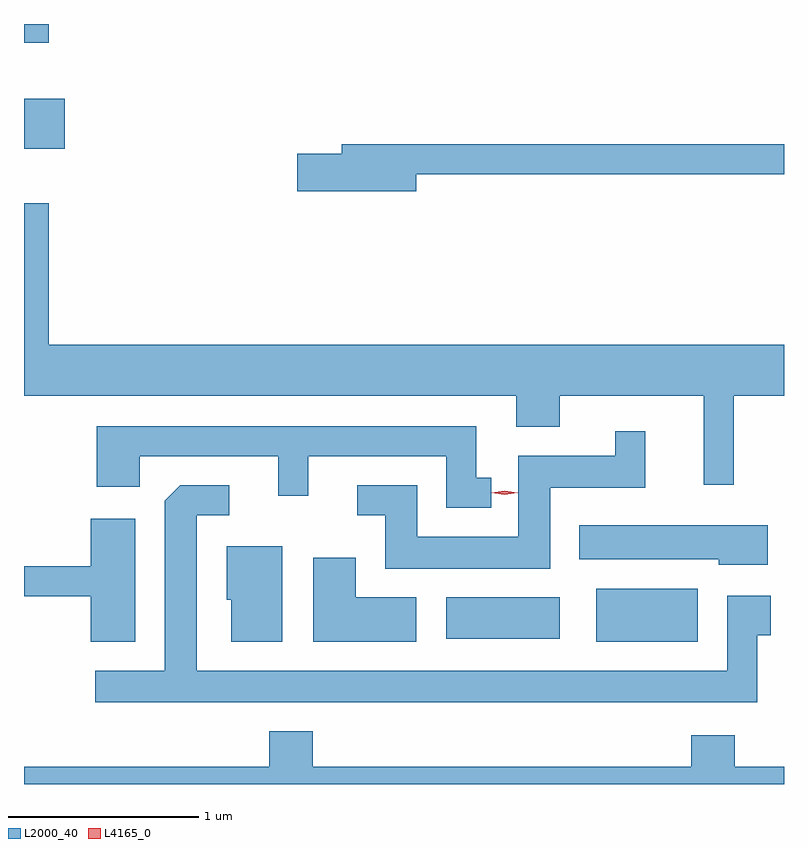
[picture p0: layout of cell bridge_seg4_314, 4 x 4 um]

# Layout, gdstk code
import gdstk
lib = gdstk.Library(unit=1e-6, precision=1e-09)
def R(c, l, rs):  # rectangles x0, y0, x1, y1
    for r in rs: c.add(gdstk.rectangle(r[:2], r[2:], *l))
def P(c, l, *ps):  # polygons
    for p in ps: c.add(gdstk.Polygon(p, *l))
L2000_40 = (2000, 40)
L4165_0 = (4165, 0)

bridge_seg4_314 = lib.new_cell('bridge_seg4_314')
R(bridge_seg4_314, L2000_40, [(509.511,1273.461,510.044,1273.739), (508.721,1273.476,509.319,1273.694), (506.499,1276.056,506.714,1276.319), (506.499,1276.613,506.629,1276.712)])
P(bridge_seg4_314, L2000_40, [(508.564,1275.921),(510.499,1275.921),(510.499,1276.079),(508.171,1276.079),(508.171,1276.029),(507.936,1276.029),(507.936,1275.831),(508.564,1275.831)],
  [(510.234,1274.756),(510.499,1274.756),(510.499,1275.024),(506.629,1275.024),(506.629,1275.768),(506.499,1275.768),(506.499,1274.756),(509.091,1274.756),(509.091,1274.591),(509.319,1274.591),(509.319,1274.756),(510.076,1274.756),(510.076,1274.288),(510.234,1274.288)],
  [(508.958,1274.324),(508.879,1274.324),(508.879,1274.594),(506.881,1274.594),(506.881,1274.276),(507.109,1274.276),(507.109,1274.436),(507.836,1274.436),(507.836,1274.228),(507.994,1274.228),(507.994,1274.436),(508.721,1274.436),(508.721,1274.166),(508.958,1274.166)],
  [(509.269,1274.271),(509.769,1274.271),(509.769,1274.568),(509.611,1274.568),(509.611,1274.439),(509.101,1274.439),(509.101,1274.014),(508.569,1274.014),(508.569,1274.284),(508.253,1274.284),(508.253,1274.126),(508.401,1274.126),(508.401,1273.846),(509.269,1273.846)],
  [(510.359,1273.496),(510.429,1273.496),(510.429,1273.704),(510.201,1273.704),(510.201,1273.309),(507.409,1273.309),(507.409,1274.126),(507.578,1274.126),(507.578,1274.284),(507.322,1274.284),(507.241,1274.204),(507.241,1273.309),(506.873,1273.309),(506.873,1273.141),(510.359,1273.141)],
  [(507.084,1274.109),(506.851,1274.109),(506.851,1273.859),(506.499,1273.859),(506.499,1273.701),(506.851,1273.701),(506.851,1273.461),(507.084,1273.461)],
  [(510.414,1274.074),(509.421,1274.074),(509.421,1273.896),(510.156,1273.896),(510.156,1273.866),(510.414,1273.866)],
  [(507.859,1273.964),(507.566,1273.964),(507.566,1273.681),(507.591,1273.681),(507.591,1273.461),(507.859,1273.461)],
  [(508.564,1273.694),(508.244,1273.694),(508.244,1273.904),(508.021,1273.904),(508.021,1273.461),(508.564,1273.461)],
  [(510.499,1272.804),(510.239,1272.804),(510.239,1272.969),(510.011,1272.969),(510.011,1272.804),(508.019,1272.804),(508.019,1272.989),(507.791,1272.989),(507.791,1272.804),(506.499,1272.804),(506.499,1272.712),(510.499,1272.712)])
P(bridge_seg4_314, L4165_0, [(509.028,1274.235),(508.959,1274.244),(508.959,1274.245),(508.959,1274.245),(509.028,1274.255),(509.098,1274.245),(509.098,1274.244),(509.098,1274.244)])

lib.write_gds('bridge_seg4_314.gds')
